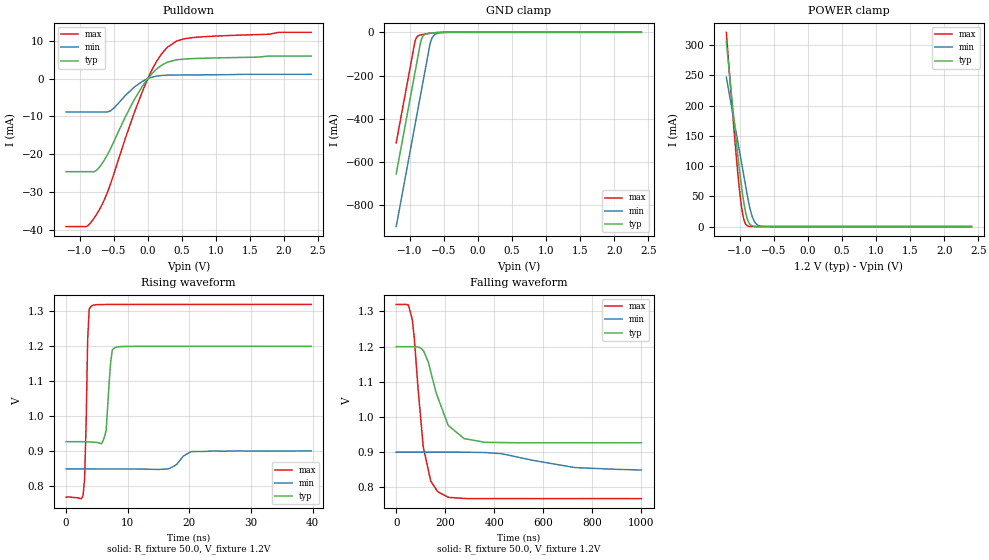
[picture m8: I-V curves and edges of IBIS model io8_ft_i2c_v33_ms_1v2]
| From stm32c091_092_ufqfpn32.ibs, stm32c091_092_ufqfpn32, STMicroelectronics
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[Model]   io8_ft_i2c_v33_ms_1v2
Model_type I/O_open_drain
Polarity   Non-Inverting
Enable   Active-Low
| CAP_THRESHOLD on pad IOFT is "UDTCAPC" :
| Rising=30.0% of vddiom   Falling=70.0% of vddiom
| C_comp min and max val. don't necessarily correlate with the min and max pvt
| but are the smallest and greatest pad capacitance found.
| var   typ   min   max
C_comp   1.90095pF  1.75240pF  1.93685pF
|C_comp_pulldown   1.90095pF  1.75240pF  1.93685pF
Vinl = 450.0mV
Vinh = 660.0mV
Vmeas = 600.0mV   | Reference voltage for timing measurements
Cref  = 50.0pF   | Timing specification test load capacitance value
Rref  = 1.0MOhm   | Timing specification test load resistance value
Vref  = 660.0mV   | Timing specification test load voltage
[Model Spec]
| TIME_THRESHOLD on pin ZII2CV12 is "CMOS" :
| Rising=50.0% of vdd   Falling=50.0% of vdd
Vinl 458.70000mV 361.70000mV 499.70000mV
Vinh 728.30000mV 549.30000mV 792.30000mV
| variable   typ   min   max
[Temperature Range] 25.0 125.0 -40.0
| variable   typ   min   max
[Voltage Range] 1.2V 900.0mV 1.32V
| variable   typ   min   max
[POWER Clamp Reference] 1.2V 900.0mV 1.32V
| variable   typ   min   max
[GND Clamp Reference] 0V 0V 0V
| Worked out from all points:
|   slope of the pulldown table from 0 to 0.18 V, typ, clamps not added: 55.2 ohm
|   GND clamp passes 1 mA (typ) near -0.58 V on its own axis
|   POWER clamp passes 1 mA (typ) near -0.81 V on its own axis
|   rising waveform, R_fixture 50.0, V_fixture 1.2V: 20-80 % time 618ps typ, 1.72ns min, 397ps max; typ from 0.927 V to 1.2 V
|   falling waveform, R_fixture 50.0, V_fixture 1.2V: 20-80 % time 74.4ns typ, 233ns min, 46.5ns max; typ from 1.2 V to 0.927 V
[POWER Clamp]
-1.2V     306.2mA    246.9mA    321.2mA
-1.09V    180mA      177.2mA    163.4mA
-1.05V    136.9mA    151.8mA    110.9mA
-1.01V    96.55mA    126.4mA    64.02mA
-960mV    52.29mA    94.73mA    20.68mA
-930mV    31.08mA    75.71mA    7.282mA
-900mV    15.67mA    56.69mA    2.025mA
-860mV    4.779mA    33.42mA    315.2uA
-810mV    823.2uA    13.62mA    29.21uA
-760mV    129.2uA    4.248mA    2.687uA
-690mV    9.442uA    651.7uA    95.02nA
2.4V      0A         0A         0A
[GND Clamp]
-1.2V     -654.2mA   -897.4mA   -510.5mA
-920mV    -178.2mA   -421.4mA   -38.03mA
-890mV    -127.2mA   -370.4mA   -19.79mA
-840mV    -43.84mA   -285.4mA   -12.07mA
-820mV    -25.28mA   -251.4mA   -10.64mA
-780mV    -10.73mA   -183.4mA   -8.317mA
-700mV    -3.985mA   -50.14mA   -4.515mA
-670mV    -2.94mA    -24.28mA   -3.345mA
-640mV    -2.115mA   -12.33mA   -2.341mA
-570mV    -791.5uA   -2.935mA   -746.3uA
-440mV    -36.45uA   -184.1uA   -16.55uA
2.4V      342.4pA    36.99nA    239.3pA
| variable   typ   min   max
[Pullup Reference] 1.2V 900.0mV 1.32V
| variable   typ   min   max
[Pulldown Reference] 0V 0V 0V
[Pulldown]
-1.2V     -24.6mA    -8.807mA   -39.12mA
-890mV    -24.6mA    -8.807mA   -39.02mA
-780mV    -24.54mA   -8.807mA   -36.66mA
-710mV    -23.4mA    -8.807mA   -34.61mA
-530mV    -17.87mA   -8.266mA   -26.91mA
-330mV    -10.09mA   -4.455mA   -15.79mA
-80mV     -2.02mA    -710uA     -3.413mA
110mV     2.211mA    605.8uA    3.97mA
290mV     4.374mA    930.4uA    8.331mA
420mV     4.991mA    971.3uA    9.931mA
670mV     5.322mA    1.008mA    10.89mA
2.4V      5.995mA    1.165mA    12.27mA
[Ramp]
dV/dt_r 163.91966mV/616.16691ps 30.99439mV/1.71655ns 331.17367mV/338.36334ps
dV/dt_f 163.89219mV/74.35971ns 30.51022mV/233.35681ns 331.32043mV/46.49493ns
R_load = 50.0
| Removed startup time: 0s 0s 0s  .
| Removed end time: 39.75ns.
[Rising Waveform]
R_fixture   = 50.0
V_fixture   = 1.2V
V_fixture_min = 900.0mV
V_fixture_max = 1.32V
0s        926.8mV    848.6mV    768mV
2.75ns    926.6mV    848.6mV    772.7mV
3ns       926.4mV    848.6mV    819.3mV
3.5ns     926mV      848.6mV    1.219V
3.75ns    925.9mV    848.6mV    1.307V
4.25ns    925.6mV    848.6mV    1.317V
6.5ns     959.3mV    848.5mV    1.32V
7.25ns    1.158V     848.4mV    1.32V
8ns       1.196V     848.4mV    1.32V
39.75ns   1.2V       900.3mV    1.32V
| Removed startup time: 0s 0s 0s  .
| Removed end time: 999.75ns.
[Falling Waveform]
R_fixture   = 50.0
V_fixture   = 1.2V
V_fixture_min = 900.0mV
V_fixture_max = 1.32V
0s        1.2V       900mV      1.32V
49.75ns   1.2V       900mV      1.318V
65.5ns    1.2V       900mV      1.277V
74.25ns   1.2V       900mV      1.22V
110.3ns   1.189V     900mV      915.4mV
140.8ns   1.129V     900mV      817.9mV
169.5ns   1.056V     900mV      787.3mV
212ns     976.2mV    900mV      772.1mV
277ns     938.6mV    899.9mV    768.6mV
999.8ns   926.8mV    849.1mV    767.8mV
